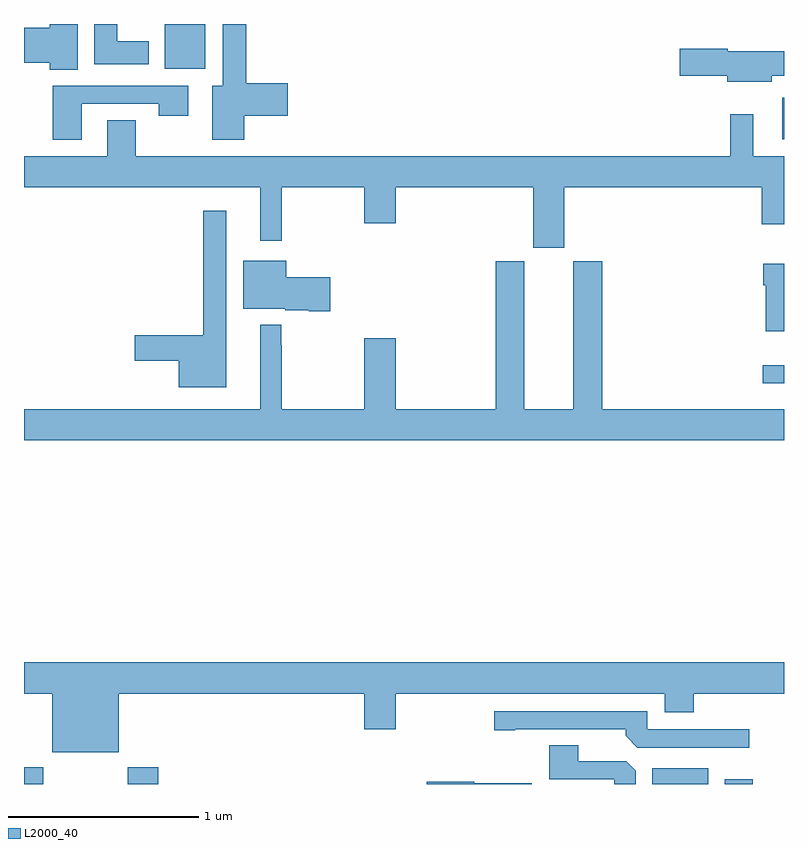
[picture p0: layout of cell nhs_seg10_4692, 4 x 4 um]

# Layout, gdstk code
import gdstk
lib = gdstk.Library(unit=1e-6, precision=1e-09)
def R(c, l, rs):  # rectangles x0, y0, x1, y1
    for r in rs: c.add(gdstk.rectangle(r[:2], r[2:], *l))
def P(c, l, *ps):  # polygons
    for p in ps: c.add(gdstk.Polygon(p, *l))
L2000_40 = (2000, 40)

nhs_seg10_4692 = lib.new_cell('nhs_seg10_4692')
R(nhs_seg10_4692, L2000_40, [(379,1306.5,379.101,1306.588), (379.546,1306.5,379.706,1306.588), (382.307,1306.5,382.6,1306.582), (382.688,1306.5,382.835,1306.525), (382.887,1308.608,383,1308.705), (382.991,1309.893,383,1310.113), (379.742,1310.264,379.954,1310.5)])
P(nhs_seg10_4692, L2000_40, [(379.282,1310.5),(379.136,1310.5),(379.136,1310.48),(379,1310.48),(379,1310.297),(379.136,1310.297),(379.136,1310.26),(379.282,1310.26)],
  [(379.657,1310.41),(379.492,1310.41),(379.492,1310.5),(379.37,1310.5),(379.37,1310.288),(379.657,1310.288)],
  [(380.158,1310.018),(380.389,1310.018),(380.389,1310.189),(380.171,1310.189),(380.171,1310.5),(380.045,1310.5),(380.045,1310.176),(379.991,1310.176),(379.991,1309.89),(380.158,1309.89)],
  [(382.936,1310.227),(383,1310.227),(383,1310.356),(382.704,1310.356),(382.704,1310.369),(382.452,1310.369),(382.452,1310.227),(382.7,1310.227),(382.7,1310.195),(382.936,1310.195)],
  [(379.303,1310.079),(379.708,1310.079),(379.708,1310.016),(379.864,1310.016),(379.864,1310.175),(379.151,1310.175),(379.151,1309.89),(379.303,1309.89)],
  [(381.844,1309.64),(382.883,1309.64),(382.883,1309.446),(383,1309.446),(383,1309.804),(382.837,1309.804),(382.837,1310.026),(382.716,1310.026),(382.716,1309.804),(379.587,1309.804),(379.587,1309.994),(379.439,1309.994),(379.439,1309.804),(379,1309.804),(379,1309.64),(380.243,1309.64),(380.243,1309.359),(380.357,1309.359),(380.357,1309.64),(380.792,1309.64),(380.792,1309.452),(380.956,1309.452),(380.956,1309.64),(381.68,1309.64),(381.68,1309.323),(381.844,1309.323)],
  [(380.065,1309.516),(379.944,1309.516),(379.944,1308.863),(379.584,1308.863),(379.584,1308.728),(379.814,1308.728),(379.814,1308.587),(380.065,1308.587)],
  [(380.611,1309.167),(380.38,1309.167),(380.38,1309.255),(380.153,1309.255),(380.153,1309.001),(380.376,1309.001),(380.376,1308.994),(380.498,1308.994),(380.498,1308.989),(380.611,1308.989)],
  [(383,1308.472),(382.043,1308.472),(382.043,1309.251),(381.89,1309.251),(381.89,1308.472),(381.634,1308.472),(381.634,1309.251),(381.482,1309.251),(381.482,1308.472),(380.956,1308.472),(380.956,1308.847),(380.792,1308.847),(380.792,1308.472),(380.357,1308.472),(380.357,1308.809),(380.353,1308.809),(380.353,1308.916),(380.243,1308.916),(380.243,1308.472),(379,1308.472),(379,1308.308),(383,1308.308)],
  [(383,1309.237),(382.892,1309.237),(382.892,1309.124),(382.904,1309.124),(382.904,1308.884),(383,1308.884)],
  [(379.498,1306.976),(380.792,1306.976),(380.792,1306.788),(380.956,1306.788),(380.956,1306.976),(382.373,1306.976),(382.373,1306.877),(382.526,1306.877),(382.526,1306.976),(383,1306.976),(383,1307.14),(379,1307.14),(379,1306.976),(379.148,1306.976),(379.148,1306.667),(379.498,1306.667)],
  [(382.816,1306.788),(382.281,1306.788),(382.281,1306.884),(381.474,1306.884),(381.474,1306.783),(381.586,1306.783),(381.586,1306.788),(382.166,1306.788),(382.166,1306.754),(382.227,1306.692),(382.816,1306.692)],
  [(382.219,1306.571),(382.17,1306.62),(381.916,1306.62),(381.916,1306.703),(381.764,1306.703),(381.764,1306.524),(382.107,1306.524),(382.107,1306.5),(382.219,1306.5)],
  [(381.673,1306.504),(381.369,1306.504),(381.369,1306.512),(381.12,1306.512),(381.12,1306.5),(381.673,1306.5)])

lib.write_gds('nhs_seg10_4692.gds')
